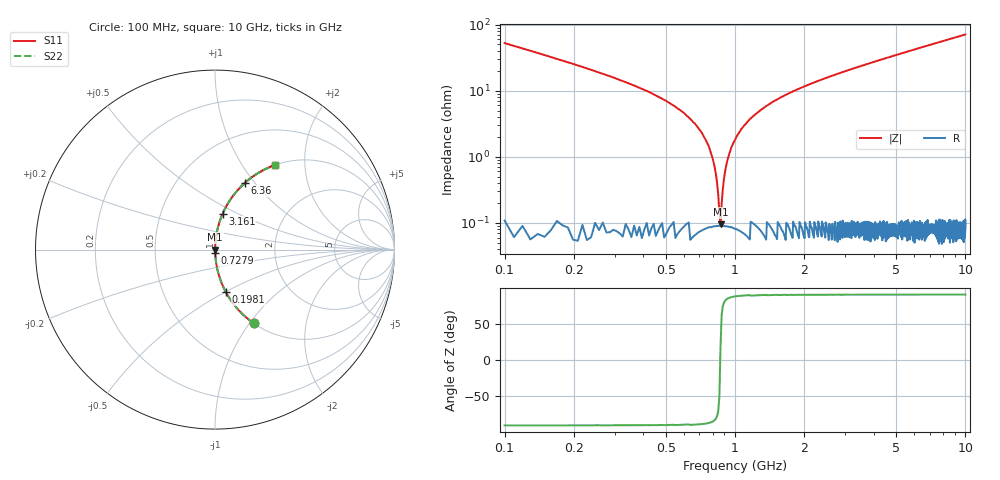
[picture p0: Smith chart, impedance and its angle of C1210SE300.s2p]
! AVX Thin Film Operation		Date: April 2012
! Description: Accu-P® Series, Thin Film, SMD, RF Capacitor
! Part Number: 12101J300FBTTR
!	100	MHz	-	10.05	GHz
!	Serial	Measurements
#	MHZ	S	MA	R	50
!	S11	S21	S12	S22
!	dB	Phase	dB	Phase	dB	Phase	dB	Phase
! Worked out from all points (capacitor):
!   1010 points, 100 MHz to 10 GHz, reference 50 ohm
!   read as one part in series: C = 30 pF near 149.1 MHz
!   lowest |Z| = 94.9 mohm at 865.3 MHz (marker M1)
!   series resonance near 863.2 MHz, so ESL is about 1.1 nH
!   S11 on the Smith chart (normalised r, x): 100 MHz: 1.00, -1.05; 198.1 MHz: 1.00, -0.51; 727.9 MHz: 1.00, -0.04; 3.161 GHz: 1.00, +0.42; 6.36 GHz: 1.00, +0.89; 10 GHz: 1.00, +1.41
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100  0.463 -62.3  0.885 27.6  0.885 27.6  0.463 -62.3
198.117  0.246 -75.6  0.969 14.2  0.969 14.2  0.246 -75.6
345.292  0.128 -82.3  0.991 7.3  0.991 7.3  0.128 -82.3
580.773  0.05 -86.2  0.998 2.9  0.998 2.9  0.05 -86.2
727.948  0.021 -86.6  0.999 1.2  0.999 1.2  0.021 -86.6
786.819  0.011 -85.3  0.999 0.7  0.999 0.7  0.011 -85.3
826.065  0.00546 -81.3  0.999 0.3  0.999 0.3  0.00546 -81.3
865.312  0.000854 20.6  0.999 -0.0  0.999 -0.0  0.000854 20.6
894.747  0.00448 79.5  0.999 -0.3  0.999 -0.3  0.00448 79.5
933.994  0.00973 84.7  0.999 -0.6  0.999 -0.6  0.00973 84.7
973.241  0.015 86.1  0.999 -0.8  0.999 -0.8  0.015 86.1
1110.605  0.031 86.7  0.999 -1.8  0.999 -1.8  0.031 86.7
1385.332  0.06 85.8  0.997 -3.5  0.997 -3.5  0.06 85.8
1758.176  0.095 84.1  0.995 -5.4  0.995 -5.4  0.095 84.1
2346.878  0.143 81.5  0.989 -8.2  0.989 -8.2  0.143 81.5
3161.249  0.204 78.0  0.978 -11.8  0.978 -11.8  0.204 78.0
3406.541  0.221 77.0  0.974 -12.8  0.974 -12.8  0.221 77.0
5054.906  0.33 70.6  0.943 -19.2  0.943 -19.2  0.33 70.6
6359.861  0.406 65.9  0.913 -23.9  0.913 -23.9  0.406 65.9
6703.271  0.425 64.8  0.905 -25.1  0.905 -25.1  0.425 64.8
8351.635  0.507 59.5  0.861 -30.4  0.861 -30.4  0.507 59.5
10000  0.577 54.7  0.816 -35.2  0.816 -35.2  0.577 54.7
